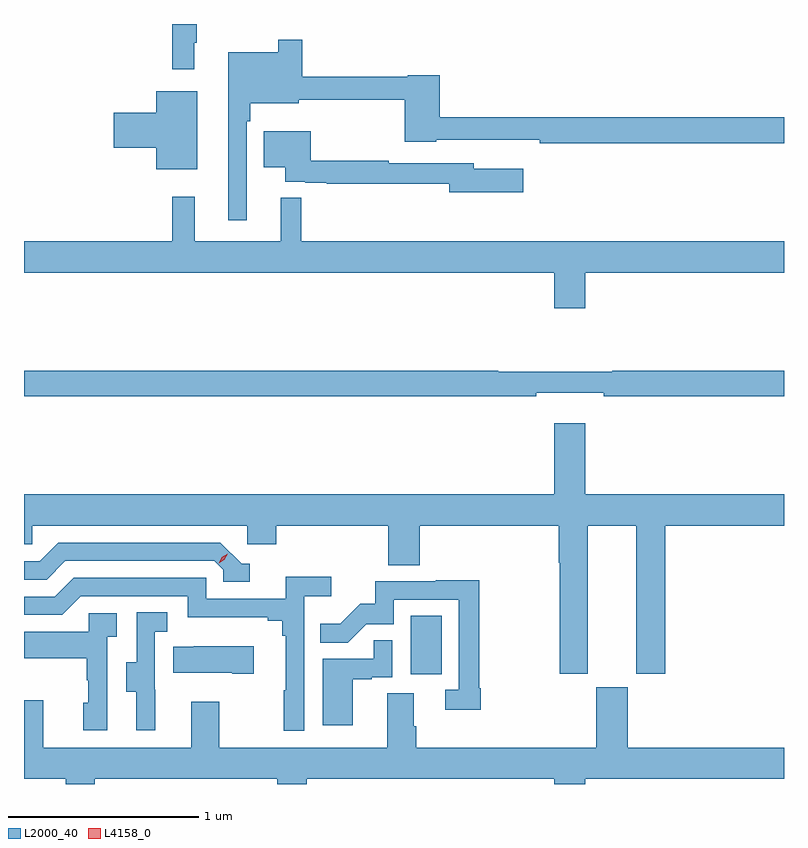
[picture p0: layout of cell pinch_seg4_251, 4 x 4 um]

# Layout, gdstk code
import gdstk
lib = gdstk.Library(unit=1e-6, precision=1e-09)
def R(c, l, rs):  # rectangles x0, y0, x1, y1
    for r in rs: c.add(gdstk.rectangle(r[:2], r[2:], *l))
def P(c, l, *ps):  # polygons
    for p in ps: c.add(gdstk.Polygon(p, *l))
L2000_40 = (2000, 40)
L4158_0 = (4158, 0)

pinch_seg4_251 = lib.new_cell('pinch_seg4_251')
R(pinch_seg4_251, L2000_40, [(931.484,812.022,931.648,812.329)])
P(pinch_seg4_251, L2000_40, [(930.229,815.205),(930.346,815.205),(930.346,815.345),(930.358,815.345),(930.358,815.444),(930.229,815.444)],
  [(930.621,814.931),(930.641,814.931),(930.641,815.027),(930.895,815.027),(930.895,815.046),(931.454,815.046),(931.454,814.823),(931.62,814.823),(931.62,814.836),(931.912,814.836),(931.912,814.835),(932.164,814.835),(932.164,814.816),(933.449,814.816),(933.449,814.952),(931.637,814.952),(931.637,815.175),(931.47,815.175),(931.47,815.167),(930.914,815.167),(930.914,815.362),(930.786,815.362),(930.786,815.296),(930.524,815.296),(930.524,814.41),(930.621,814.41)],
  [(930.361,815.089),(930.146,815.089),(930.146,814.976),(929.922,814.976),(929.922,814.793),(930.146,814.793),(930.146,814.679),(930.361,814.679)],
  [(932.077,814.681),(931.816,814.681),(931.816,814.71),(931.37,814.71),(931.37,814.723),(930.959,814.723),(930.959,814.879),(930.71,814.879),(930.71,814.691),(930.824,814.691),(930.824,814.614),(930.928,814.614),(930.928,814.608),(931.042,814.608),(931.042,814.602),(931.688,814.602),(931.688,814.559),(932.077,814.559)],
  [(932.404,814.136),(933.449,814.136),(933.449,814.3),(930.908,814.3),(930.908,814.529),(930.8,814.529),(930.8,814.3),(930.347,814.3),(930.347,814.534),(930.229,814.534),(930.229,814.3),(929.449,814.3),(929.449,814.136),(932.24,814.136),(932.24,813.948),(932.404,813.948)],
  [(932.144,813.503),(932.5,813.503),(932.5,813.484),(933.449,813.484),(933.449,813.62),(932.545,813.62),(932.545,813.613),(931.945,813.613),(931.945,813.62),(929.449,813.62),(929.449,813.484),(932.144,813.484)],
  [(932.416,812.804),(932.672,812.804),(932.672,812.025),(932.825,812.025),(932.825,812.804),(933.449,812.804),(933.449,812.968),(932.404,812.968),(932.404,813.343),(932.24,813.343),(932.24,812.968),(929.449,812.968),(929.449,812.706),(929.493,812.706),(929.493,812.804),(930.624,812.804),(930.624,812.706),(930.776,812.706),(930.776,812.804),(931.367,812.804),(931.367,812.596),(931.532,812.596),(931.532,812.804),(932.264,812.804),(932.264,812.608),(932.269,812.608),(932.269,812.025),(932.416,812.025)],
  [(930.637,812.604),(930.594,812.604),(930.483,812.715),(929.63,812.715),(929.531,812.616),(929.449,812.616),(929.449,812.52),(929.568,812.52),(929.667,812.619),(930.45,812.619),(930.498,812.571),(930.498,812.508),(930.637,812.508)],
  [(930.924,812.432),(931.066,812.432),(931.066,812.534),(930.827,812.534),(930.827,812.418),(930.408,812.418),(930.408,812.529),(929.711,812.529),(929.612,812.43),(929.449,812.43),(929.449,812.334),(929.649,812.334),(929.748,812.433),(930.312,812.433),(930.312,812.321),(930.731,812.321),(930.731,812.302),(930.808,812.302),(930.808,812.225),(930.827,812.225),(930.827,811.937),(930.816,811.937),(930.816,811.725),(930.924,811.725)],
  [(931.853,811.948),(931.846,811.948),(931.846,812.516),(931.615,812.516),(931.615,812.511),(931.297,812.511),(931.297,812.394),(931.22,812.394),(931.113,812.287),(931.009,812.287),(931.009,812.188),(931.153,812.188),(931.251,812.286),(931.395,812.286),(931.395,812.415),(931.737,812.415),(931.737,811.941),(931.665,811.941),(931.665,811.836),(931.853,811.836)],
  [(930.14,811.941),(930.138,811.941),(930.138,812.245),(930.202,812.245),(930.202,812.348),(930.042,812.348),(930.042,812.085),(929.987,812.085),(929.987,811.93),(930.041,811.93),(930.041,811.728),(930.14,811.728)],
  [(929.886,812.219),(929.938,812.219),(929.938,812.343),(929.79,812.343),(929.79,812.245),(929.449,812.245),(929.449,812.105),(929.778,812.105),(929.778,811.991),(929.788,811.991),(929.788,811.872),(929.762,811.872),(929.762,811.728),(929.886,811.728)],
  [(931.18,811.995),(931.28,811.995),(931.28,812.007),(931.386,812.007),(931.386,812.201),(931.291,812.201),(931.291,812.103),(931.022,812.103),(931.022,811.752),(931.18,811.752)],
  [(930.658,812.17),(930.343,812.17),(930.343,812.167),(930.235,812.167),(930.235,812.03),(930.545,812.03),(930.545,812.023),(930.658,812.023)],
  [(929.821,811.472),(930.781,811.472),(930.781,811.444),(930.938,811.444),(930.938,811.472),(932.24,811.472),(932.24,811.444),(932.404,811.444),(932.404,811.472),(933.449,811.472),(933.449,811.636),(932.626,811.636),(932.626,811.953),(932.462,811.953),(932.462,811.636),(931.514,811.636),(931.514,811.748),(931.501,811.748),(931.501,811.922),(931.361,811.922),(931.361,811.636),(930.477,811.636),(930.477,811.876),(930.329,811.876),(930.329,811.636),(929.549,811.636),(929.549,811.885),(929.451,811.885),(929.451,811.636),(929.449,811.636),(929.449,811.472),(929.669,811.472),(929.669,811.444),(929.821,811.444)])
P(pinch_seg4_251, L4158_0, [(930.473,812.606),(930.473,812.606),(930.49,812.638),(930.521,812.657),(930.522,812.657),(930.522,812.657),(930.504,812.624),(930.473,812.606)])

lib.write_gds('pinch_seg4_251.gds')
